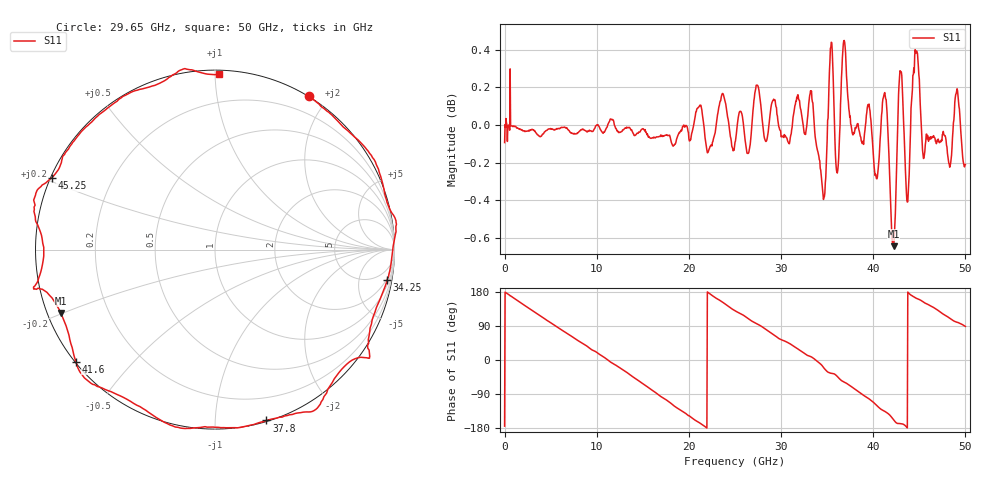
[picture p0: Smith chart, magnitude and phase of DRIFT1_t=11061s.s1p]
!Created with skrf (http://scikit-rf.org).
# Hz S RI R 50.0
!freq ReS11 ImS11
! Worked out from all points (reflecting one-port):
!   1001 points, 300 kHz to 50 GHz, reference 50 ohm
!   lowest |S11| = -0.6 dB at 42.2 GHz (marker M1), VSWR 26.95, Z = 1.93 - j9.86 ohm
!   phase of S11 starts at -175 deg and turns -817 deg over the sweep
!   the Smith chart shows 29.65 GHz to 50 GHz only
!   S11 on the Smith chart (normalised r, x): 29.65 GHz: -0.01, +1.78; 34.25 GHz: 2, -11; 37.8 GHz: 0.01, -1.35; 41.6 GHz: 0.00, -0.35; 45.25 GHz: 0.00, +0.21; 50 GHz: 0.02, +1.02
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300000  -0.9849 -0.093
1.500291e9  -0.9058 0.4186
3.30028e9  -0.5806 0.8096
6.250262e9  0.2027 0.9777
9.500243e9  0.8922 0.4427
1.250022e10  0.9322 -0.3494
1.575021e10  0.2514 -0.9598
1.73502e10  -0.2118 -0.9705
1.875019e10  -0.5985 -0.7923
2.150017e10  -0.9937 -0.1491
2.350016e10  -0.9226 0.4279
2.500015e10  -0.634 0.7595
2.740014e10  -0.0944 1.02
2.965012e10  0.5236 0.8553
3.125011e10  0.7867 0.62
3.31001e10  1.003 0.1772
3.425009e10  0.9592 -0.1673
3.520009e10  0.8587 -0.5599
3.750008e10  0.3736 -0.9334
3.780007e10  0.2864 -0.9517
3.955006e10  -0.2212 -0.9884
4.160005e10  -0.7756 -0.6237
4.220005e10  -0.8587 -0.353
4.290004e10  -1.01 -0.22
4.375004e10  -0.954 0.0121
4.525003e10  -0.9106 0.4002
4.775001e10  -0.4785 0.8706
5e10  0.0239 0.9757
